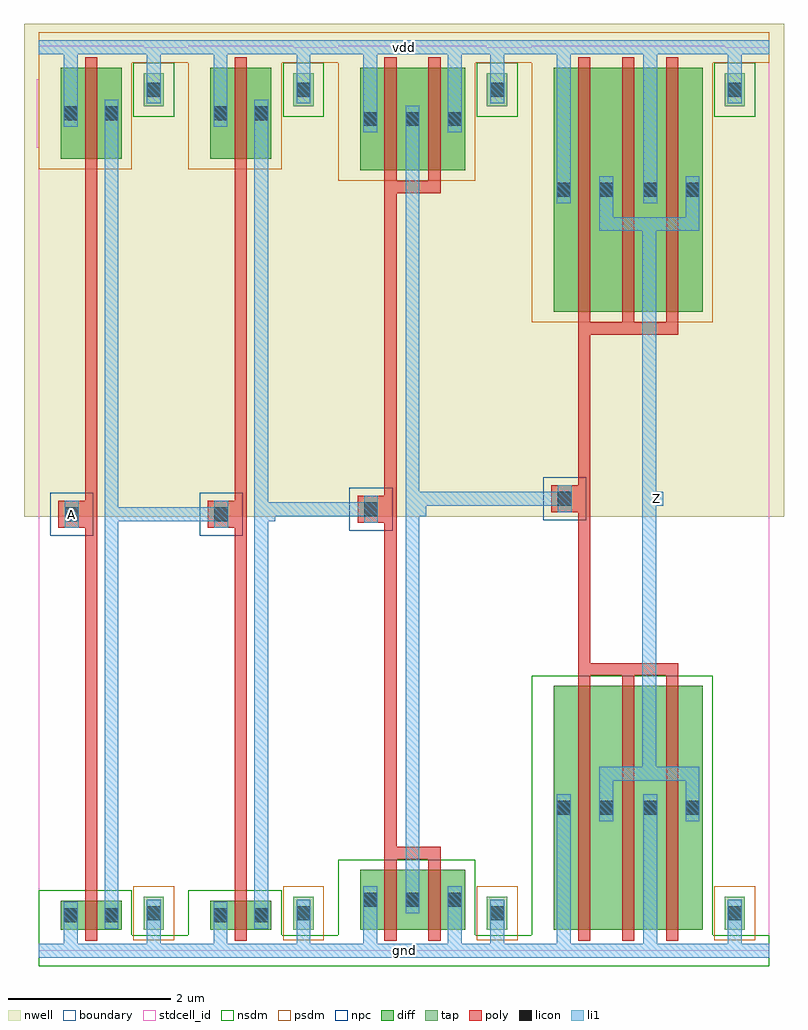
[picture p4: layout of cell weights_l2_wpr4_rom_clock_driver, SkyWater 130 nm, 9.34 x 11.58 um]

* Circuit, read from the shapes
.subckt weights_l2_wpr4_rom_clock_driver A Z gnd vdd
XM1 weights_l2_wpr4_pinv_1/A A gnd gnd sky130_fd_pr__nfet_01v8 w=0.36 l=0.15
XM2 weights_l2_wpr4_pinv_0_2/A weights_l2_wpr4_pinv_1/A gnd gnd sky130_fd_pr__nfet_01v8 w=0.36 l=0.15
XM3 weights_l2_wpr4_pinv_1_3/A weights_l2_wpr4_pinv_0_2/A gnd gnd sky130_fd_pr__nfet_01v8 w=0.74 l=0.15 m=2
XM4 Z weights_l2_wpr4_pinv_1_3/A gnd gnd sky130_fd_pr__nfet_01v8 w=3 l=0.15 m=3
XM5 weights_l2_wpr4_pinv_1/A A vdd vdd sky130_fd_pr__pfet_01v8 w=1.12 l=0.15
XM6 weights_l2_wpr4_pinv_0_2/A weights_l2_wpr4_pinv_1/A vdd vdd sky130_fd_pr__pfet_01v8 w=1.12 l=0.15
XM7 weights_l2_wpr4_pinv_1_3/A weights_l2_wpr4_pinv_0_2/A vdd vdd sky130_fd_pr__pfet_01v8 w=1.26 l=0.15 m=2
XM8 Z weights_l2_wpr4_pinv_1_3/A vdd vdd sky130_fd_pr__pfet_01v8 w=3 l=0.15 m=3
.ends

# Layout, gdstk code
import gdstk
lib = gdstk.Library(unit=1e-6, precision=1e-09)
def R(c, l, rs):  # rectangles x0, y0, x1, y1
    for r in rs: c.add(gdstk.rectangle(r[:2], r[2:], *l))
def A(c, l, x, y, w, h, nx, ny, dx, dy):  # array of equal rectangles
    R(c, l, [(x+i*dx, y+j*dy, x+i*dx+w, y+j*dy+h) for i in range(nx) for j in range(ny)])
nwell = (64, 20)
diff = (65, 20)
tap = (65, 44)
poly = (66, 20)
licon = (66, 44)
li1 = (67, 20)
stdcell_id = (81, 4)
nsdm = (93, 44)
psdm = (94, 20)
npc = (95, 20)
boundary = (235, 4)

weights_l2_wpr4_contact_ = lib.new_cell('weights_l2_wpr4_contact_10')
R(weights_l2_wpr4_contact_, nwell, [(-0.295,-0.255,0.545,0.585)])
R(weights_l2_wpr4_contact_, diff, [(0,0.02,0.25,0.31)])
R(weights_l2_wpr4_contact_, licon, [(0.04,0.08,0.21,0.25)])
R(weights_l2_wpr4_contact_, li1, [(0.04,0,0.21,0.33)])
R(weights_l2_wpr4_contact_, stdcell_id, [(-0.295,-0.255,0.545,0.585)])
R(weights_l2_wpr4_contact_, psdm, [(-0.125,-0.105,0.375,0.435)])
R(weights_l2_wpr4_contact_, boundary, [(-0.295,-0.255,0.545,0.585)])

weights_l2_wpr4_pmos_m1_ = lib.new_cell('weights_l2_wpr4_pmos_m1_w1_120_sli_dli_da_p')
R(weights_l2_wpr4_pmos_m1_, nwell, [(-0.27,-0.27,1.02,1.39)])
R(weights_l2_wpr4_pmos_m1_, diff, [(0,0,0.75,1.12)])
R(weights_l2_wpr4_pmos_m1_, poly, [(0.3,-0.13,0.45,1.25), (0.3,-0.13,0.45,1.25)])
R(weights_l2_wpr4_pmos_m1_, li1, [(0.04,0.395,0.21,0.725), (0.54,0.395,0.71,0.725)])
R(weights_l2_wpr4_pmos_m1_, stdcell_id, [(-0.27,-0.27,1.02,1.39)])
R(weights_l2_wpr4_pmos_m1_, psdm, [(-0.125,-0.125,0.875,1.245)])
R(weights_l2_wpr4_pmos_m1_, boundary, [(-0.27,-0.27,1.02,1.39)])
weights_l2_wpr4_pmos_m1_.add(gdstk.Reference(weights_l2_wpr4_contact_, (0,0.395)))
weights_l2_wpr4_pmos_m1_.add(gdstk.Reference(weights_l2_wpr4_contact_, (0.5,0.395)))
weights_l2_wpr4_pmos_m1_.add(gdstk.Label('G', (0.375,0.56), layer=66, texttype=5))
weights_l2_wpr4_pmos_m1_.add(gdstk.Label('S', (0.125,0.56), layer=67, texttype=5))
weights_l2_wpr4_pmos_m1_.add(gdstk.Label('D', (0.625,0.56), layer=67, texttype=5))

c_weights_l2_wpr4_contact_ = lib.new_cell('weights_l2_wpr4_contact_8')
R(c_weights_l2_wpr4_contact_, diff, [(0,0.02,0.25,0.31)])
R(c_weights_l2_wpr4_contact_, licon, [(0.04,0.08,0.21,0.25)])
R(c_weights_l2_wpr4_contact_, li1, [(0.04,0,0.21,0.33)])
R(c_weights_l2_wpr4_contact_, stdcell_id, [(-0.125,-0.105,0.375,0.435)])
R(c_weights_l2_wpr4_contact_, nsdm, [(-0.125,-0.105,0.375,0.435)])
R(c_weights_l2_wpr4_contact_, boundary, [(-0.125,-0.105,0.375,0.435)])

weights_l2_wpr4_nmos_m1_ = lib.new_cell('weights_l2_wpr4_nmos_m1_w0_360_sli_dli_da_p')
R(weights_l2_wpr4_nmos_m1_, diff, [(0,0,0.75,0.36)])
R(weights_l2_wpr4_nmos_m1_, poly, [(0.3,-0.13,0.45,0.49), (0.3,-0.13,0.45,0.49)])
R(weights_l2_wpr4_nmos_m1_, li1, [(0.04,0.015,0.21,0.345), (0.54,0.015,0.71,0.345)])
R(weights_l2_wpr4_nmos_m1_, stdcell_id, [(-0.125,-0.13,0.875,0.49)])
R(weights_l2_wpr4_nmos_m1_, nsdm, [(-0.125,-0.125,0.875,0.485)])
R(weights_l2_wpr4_nmos_m1_, boundary, [(-0.125,-0.13,0.875,0.49)])
weights_l2_wpr4_nmos_m1_.add(gdstk.Reference(c_weights_l2_wpr4_contact_, (0,0.015)))
weights_l2_wpr4_nmos_m1_.add(gdstk.Reference(c_weights_l2_wpr4_contact_, (0.5,0.015)))
weights_l2_wpr4_nmos_m1_.add(gdstk.Label('G', (0.375,0.18), layer=66, texttype=5))
weights_l2_wpr4_nmos_m1_.add(gdstk.Label('S', (0.125,0.18), layer=67, texttype=5))
weights_l2_wpr4_nmos_m1_.add(gdstk.Label('D', (0.625,0.18), layer=67, texttype=5))

c_weights_l2_wpr4_contact__ = lib.new_cell('weights_l2_wpr4_contact_26')
R(c_weights_l2_wpr4_contact__, nwell, [(-0.295,-0.215,0.545,0.625)])
R(c_weights_l2_wpr4_contact__, tap, [(0,0,0.25,0.41)])
R(c_weights_l2_wpr4_contact__, licon, [(0.04,0.12,0.21,0.29)])
R(c_weights_l2_wpr4_contact__, li1, [(0.04,0.04,0.21,0.37)])
R(c_weights_l2_wpr4_contact__, stdcell_id, [(-0.295,-0.215,0.545,0.625)])
R(c_weights_l2_wpr4_contact__, nsdm, [(-0.125,-0.125,0.375,0.535)])
R(c_weights_l2_wpr4_contact__, boundary, [(-0.295,-0.215,0.545,0.625)])

c_weights_l2_wpr4_contact___ = lib.new_cell('weights_l2_wpr4_contact_27')
R(c_weights_l2_wpr4_contact___, tap, [(0,0,0.25,0.41)])
R(c_weights_l2_wpr4_contact___, licon, [(0.04,0.12,0.21,0.29)])
R(c_weights_l2_wpr4_contact___, li1, [(0.04,0.04,0.21,0.37)])
R(c_weights_l2_wpr4_contact___, stdcell_id, [(-0.125,-0.125,0.375,0.535)])
R(c_weights_l2_wpr4_contact___, psdm, [(-0.125,-0.125,0.375,0.535)])
R(c_weights_l2_wpr4_contact___, boundary, [(-0.125,-0.125,0.375,0.535)])

c_weights_l2_wpr4_contact____ = lib.new_cell('weights_l2_wpr4_contact_11')
R(c_weights_l2_wpr4_contact____, poly, [(0,0,0.33,0.33)])
R(c_weights_l2_wpr4_contact____, licon, [(0.08,0.08,0.25,0.25)])
R(c_weights_l2_wpr4_contact____, li1, [(0.08,0,0.25,0.33)])
R(c_weights_l2_wpr4_contact____, stdcell_id, [(-0.1,-0.1,0.43,0.43)])
R(c_weights_l2_wpr4_contact____, npc, [(-0.1,-0.1,0.43,0.43)])
R(c_weights_l2_wpr4_contact____, boundary, [(-0.1,-0.1,0.43,0.43)])

weights_l2_wpr4_pinv = lib.new_cell('weights_l2_wpr4_pinv')
R(weights_l2_wpr4_pinv, nwell, [(-0.18,5.33,2.02,11.39)])
R(weights_l2_wpr4_pinv, poly, [(0.57,0.745,0.72,9.6), (0.405,5.2,0.57,5.53)])
R(weights_l2_wpr4_pinv, li1, [(0,-0.085,1.84,0.085), (0.31,-0.085,0.48,0.27), (1.33,0,1.5,0.46), (0.81,0.27,0.98,10.455), (0.32,5.2,0.49,5.53), (0.895,5.28,1.065,5.45), (0.31,10.125,0.48,11.19), (1.33,10.58,1.5,11.1), (0,11.02,1.84,11.19)])
R(weights_l2_wpr4_pinv, stdcell_id, [(0,0,1.84,11.1), (0,0,1.84,11.1)])
R(weights_l2_wpr4_pinv, nsdm, [(0,-0.19,1.84,0.19), (0,0,1.145,0.74)])
R(weights_l2_wpr4_pinv, psdm, [(0,9.605,1.145,11.105), (0,10.91,1.84,11.29)])
R(weights_l2_wpr4_pinv, boundary, [(0,0,1.84,11.1), (0,0,1.84,11.1)])
weights_l2_wpr4_pinv.add(gdstk.Reference(weights_l2_wpr4_pmos_m1_, (0.27,9.73)))
weights_l2_wpr4_pinv.add(gdstk.Reference(weights_l2_wpr4_nmos_m1_, (0.27,0.255)))
weights_l2_wpr4_pinv.add(gdstk.Reference(c_weights_l2_wpr4_contact__, (1.29,10.375)))
weights_l2_wpr4_pinv.add(gdstk.Reference(c_weights_l2_wpr4_contact___, (1.29,0.255)))
weights_l2_wpr4_pinv.add(gdstk.Reference(c_weights_l2_wpr4_contact____, (0.24,5.2)))
weights_l2_wpr4_pinv.add(gdstk.Label('A', (0.405,5.365), layer=67, texttype=5))
weights_l2_wpr4_pinv.add(gdstk.Label('Z', (0.98,5.365), layer=67, texttype=5))
weights_l2_wpr4_pinv.add(gdstk.Label('gnd', (0.92,0), layer=67, texttype=5))
weights_l2_wpr4_pinv.add(gdstk.Label('vdd', (0.92,11.105), layer=67, texttype=5))

weights_l2_wpr4_pmos_m2_ = lib.new_cell('weights_l2_wpr4_pmos_m2_w1_260_sli_dli_da_p')
R(weights_l2_wpr4_pmos_m2_, nwell, [(-0.27,-0.27,1.56,1.53)])
R(weights_l2_wpr4_pmos_m2_, diff, [(0,0,1.29,1.26)])
R(weights_l2_wpr4_pmos_m2_, poly, [(0.3,-0.28,0.99,-0.13), (0.3,-0.13,0.45,1.39), (0.84,-0.13,0.99,1.39)])
A(weights_l2_wpr4_pmos_m2_, li1, 0.04, 0.465, 0.17, 0.33, 3, 1, 0.52, 0)
R(weights_l2_wpr4_pmos_m2_, stdcell_id, [(-0.27,-0.28,1.56,1.53)])
R(weights_l2_wpr4_pmos_m2_, psdm, [(-0.125,-0.125,1.415,1.385)])
R(weights_l2_wpr4_pmos_m2_, boundary, [(-0.27,-0.28,1.56,1.53)])
weights_l2_wpr4_pmos_m2_.add(gdstk.Reference(weights_l2_wpr4_contact_, (0,0.465)))
weights_l2_wpr4_pmos_m2_.add(gdstk.Reference(weights_l2_wpr4_contact_, (0.52,0.465)))
weights_l2_wpr4_pmos_m2_.add(gdstk.Reference(weights_l2_wpr4_contact_, (1.04,0.465)))
weights_l2_wpr4_pmos_m2_.add(gdstk.Label('G', (0.645,-0.205), layer=66, texttype=5))
weights_l2_wpr4_pmos_m2_.add(gdstk.Label('S', (0.125,0.63), layer=67, texttype=5))
weights_l2_wpr4_pmos_m2_.add(gdstk.Label('S', (1.165,0.63), layer=67, texttype=5))
weights_l2_wpr4_pmos_m2_.add(gdstk.Label('D', (0.645,0.63), layer=67, texttype=5))

weights_l2_wpr4_nmos_m2_ = lib.new_cell('weights_l2_wpr4_nmos_m2_w0_740_sli_dli_da_p')
R(weights_l2_wpr4_nmos_m2_, diff, [(0,0,1.29,0.74)])
R(weights_l2_wpr4_nmos_m2_, poly, [(0.3,-0.13,0.45,0.87), (0.84,-0.13,0.99,0.87), (0.3,0.87,0.99,1.02)])
A(weights_l2_wpr4_nmos_m2_, li1, 0.04, 0.205, 0.17, 0.33, 3, 1, 0.52, 0)
R(weights_l2_wpr4_nmos_m2_, stdcell_id, [(-0.125,-0.13,1.415,1.02)])
R(weights_l2_wpr4_nmos_m2_, nsdm, [(-0.125,-0.125,1.415,0.865)])
R(weights_l2_wpr4_nmos_m2_, boundary, [(-0.125,-0.13,1.415,1.02)])
weights_l2_wpr4_nmos_m2_.add(gdstk.Reference(c_weights_l2_wpr4_contact_, (0,0.205)))
weights_l2_wpr4_nmos_m2_.add(gdstk.Reference(c_weights_l2_wpr4_contact_, (0.52,0.205)))
weights_l2_wpr4_nmos_m2_.add(gdstk.Reference(c_weights_l2_wpr4_contact_, (1.04,0.205)))
weights_l2_wpr4_nmos_m2_.add(gdstk.Label('G', (0.645,0.945), layer=66, texttype=5))
weights_l2_wpr4_nmos_m2_.add(gdstk.Label('S', (0.125,0.37), layer=67, texttype=5))
weights_l2_wpr4_nmos_m2_.add(gdstk.Label('S', (1.165,0.37), layer=67, texttype=5))
weights_l2_wpr4_nmos_m2_.add(gdstk.Label('D', (0.645,0.37), layer=67, texttype=5))

weights_l2_wpr4_pinv_0 = lib.new_cell('weights_l2_wpr4_pinv_0')
R(weights_l2_wpr4_pinv_0, nwell, [(-0.18,5.33,2.56,11.39)])
R(weights_l2_wpr4_pinv_0, poly, [(0.57,1.275,0.72,9.31), (0.405,5.26,0.57,5.59)])
R(weights_l2_wpr4_pinv_0, li1, [(0,-0.085,2.38,0.085), (0.31,-0.085,0.48,0.46), (1.35,-0.085,1.52,0.46), (1.87,0,2.04,0.46), (0.83,0.46,1,10.385), (0.32,5.26,0.49,5.59), (0.915,5.34,1.085,5.51), (0.31,10.055,0.48,11.19), (1.35,10.055,1.52,11.19), (1.87,10.58,2.04,11.1), (0,11.02,2.38,11.19)])
R(weights_l2_wpr4_pinv_0, stdcell_id, [(0,0,2.38,11.1), (0,0,2.38,11.1)])
R(weights_l2_wpr4_pinv_0, nsdm, [(0,-0.19,2.38,0.19), (0,0,1.685,1.12)])
R(weights_l2_wpr4_pinv_0, psdm, [(0,9.465,1.685,11.105), (0,10.91,2.38,11.29)])
R(weights_l2_wpr4_pinv_0, boundary, [(0,0,2.38,11.1), (0,0,2.38,11.1)])
weights_l2_wpr4_pinv_0.add(gdstk.Reference(weights_l2_wpr4_pmos_m2_, (0.27,9.59)))
weights_l2_wpr4_pinv_0.add(gdstk.Reference(weights_l2_wpr4_nmos_m2_, (0.27,0.255)))
weights_l2_wpr4_pinv_0.add(gdstk.Reference(c_weights_l2_wpr4_contact__, (1.83,10.375)))
weights_l2_wpr4_pinv_0.add(gdstk.Reference(c_weights_l2_wpr4_contact___, (1.83,0.255)))
weights_l2_wpr4_pinv_0.add(gdstk.Reference(c_weights_l2_wpr4_contact____, (0.24,5.26)))
weights_l2_wpr4_pinv_0.add(gdstk.Label('A', (0.405,5.425), layer=67, texttype=5))
weights_l2_wpr4_pinv_0.add(gdstk.Label('Z', (1,5.425), layer=67, texttype=5))
weights_l2_wpr4_pinv_0.add(gdstk.Label('gnd', (1.19,0), layer=67, texttype=5))
weights_l2_wpr4_pinv_0.add(gdstk.Label('vdd', (1.19,11.105), layer=67, texttype=5))

weights_l2_wpr4_pmos_m3_ = lib.new_cell('weights_l2_wpr4_pmos_m3_w3_000_sli_dli_da_p')
R(weights_l2_wpr4_pmos_m3_, nwell, [(-0.27,-0.27,2.1,3.27)])
R(weights_l2_wpr4_pmos_m3_, diff, [(0,0,1.83,3)])
A(weights_l2_wpr4_pmos_m3_, poly, 0.3, -0.13, 0.15, 3.26, 3, 1, 0.54, 0)
R(weights_l2_wpr4_pmos_m3_, poly, [(0.3,-0.28,1.53,-0.13)])
R(weights_l2_wpr4_pmos_m3_, li1, [(0.56,0.995,1.79,1.165), (0.56,1.08,0.73,1.5), (1.62,1.08,1.79,1.5), (0.04,1.335,0.21,1.665), (1.1,1.335,1.27,1.665)])
R(weights_l2_wpr4_pmos_m3_, stdcell_id, [(-0.27,-0.28,2.1,3.27)])
R(weights_l2_wpr4_pmos_m3_, psdm, [(-0.125,-0.125,1.955,3.125)])
R(weights_l2_wpr4_pmos_m3_, boundary, [(-0.27,-0.28,2.1,3.27)])
weights_l2_wpr4_pmos_m3_.add(gdstk.Reference(weights_l2_wpr4_contact_, (0,1.335)))
weights_l2_wpr4_pmos_m3_.add(gdstk.Reference(weights_l2_wpr4_contact_, (0.52,1.335)))
weights_l2_wpr4_pmos_m3_.add(gdstk.Reference(weights_l2_wpr4_contact_, (1.06,1.335)))
weights_l2_wpr4_pmos_m3_.add(gdstk.Reference(weights_l2_wpr4_contact_, (1.58,1.335)))
weights_l2_wpr4_pmos_m3_.add(gdstk.Label('G', (0.915,-0.205), layer=66, texttype=5))
weights_l2_wpr4_pmos_m3_.add(gdstk.Label('S', (0.125,1.5), layer=67, texttype=5))
weights_l2_wpr4_pmos_m3_.add(gdstk.Label('S', (1.185,1.5), layer=67, texttype=5))
weights_l2_wpr4_pmos_m3_.add(gdstk.Label('D', (1.175,1.08), layer=67, texttype=5))

weights_l2_wpr4_nmos_m3_ = lib.new_cell('weights_l2_wpr4_nmos_m3_w3_000_sli_dli_da_p')
R(weights_l2_wpr4_nmos_m3_, diff, [(0,0,1.83,3)])
A(weights_l2_wpr4_nmos_m3_, poly, 0.3, -0.13, 0.15, 3.26, 3, 1, 0.54, 0)
R(weights_l2_wpr4_nmos_m3_, poly, [(0.3,3.13,1.53,3.28)])
R(weights_l2_wpr4_nmos_m3_, li1, [(0.04,1.335,0.21,1.665), (1.1,1.335,1.27,1.665), (0.56,1.5,0.73,1.92), (1.62,1.5,1.79,1.92), (0.56,1.835,1.79,2.005)])
R(weights_l2_wpr4_nmos_m3_, stdcell_id, [(-0.125,-0.13,1.955,3.28)])
R(weights_l2_wpr4_nmos_m3_, nsdm, [(-0.125,-0.125,1.955,3.125)])
R(weights_l2_wpr4_nmos_m3_, boundary, [(-0.125,-0.13,1.955,3.28)])
weights_l2_wpr4_nmos_m3_.add(gdstk.Reference(c_weights_l2_wpr4_contact_, (0,1.335)))
weights_l2_wpr4_nmos_m3_.add(gdstk.Reference(c_weights_l2_wpr4_contact_, (0.52,1.335)))
weights_l2_wpr4_nmos_m3_.add(gdstk.Reference(c_weights_l2_wpr4_contact_, (1.06,1.335)))
weights_l2_wpr4_nmos_m3_.add(gdstk.Reference(c_weights_l2_wpr4_contact_, (1.58,1.335)))
weights_l2_wpr4_nmos_m3_.add(gdstk.Label('G', (0.915,3.205), layer=66, texttype=5))
weights_l2_wpr4_nmos_m3_.add(gdstk.Label('S', (0.125,1.5), layer=67, texttype=5))
weights_l2_wpr4_nmos_m3_.add(gdstk.Label('S', (1.185,1.5), layer=67, texttype=5))
weights_l2_wpr4_nmos_m3_.add(gdstk.Label('D', (1.175,1.92), layer=67, texttype=5))

weights_l2_wpr4_pinv_1 = lib.new_cell('weights_l2_wpr4_pinv_1')
R(weights_l2_wpr4_pinv_1, nwell, [(-0.18,5.33,3.1,11.39)])
R(weights_l2_wpr4_pinv_1, poly, [(0.57,3.535,0.72,7.57), (0.405,5.39,0.57,5.72)])
R(weights_l2_wpr4_pinv_1, li1, [(0,-0.085,2.92,0.085), (0.31,-0.085,0.48,1.59), (1.37,-0.085,1.54,1.59), (2.41,0,2.58,0.46), (1.36,2.09,1.53,9.015), (0.32,5.39,0.49,5.72), (1.445,5.47,1.615,5.64), (0.31,9.185,0.48,11.19), (1.37,9.185,1.54,11.19), (2.41,10.58,2.58,11.1), (0,11.02,2.92,11.19)])
R(weights_l2_wpr4_pinv_1, stdcell_id, [(0,0,2.92,11.1), (0,0,2.92,11.1)])
R(weights_l2_wpr4_pinv_1, nsdm, [(0,-0.19,2.92,0.19), (0,0,2.225,3.38)])
R(weights_l2_wpr4_pinv_1, psdm, [(0,7.725,2.225,11.105), (0,10.91,2.92,11.29)])
R(weights_l2_wpr4_pinv_1, boundary, [(0,0,2.92,11.1), (0,0,2.92,11.1)])
weights_l2_wpr4_pinv_1.add(gdstk.Reference(weights_l2_wpr4_pmos_m3_, (0.27,7.85)))
weights_l2_wpr4_pinv_1.add(gdstk.Reference(weights_l2_wpr4_nmos_m3_, (0.27,0.255)))
weights_l2_wpr4_pinv_1.add(gdstk.Reference(c_weights_l2_wpr4_contact__, (2.37,10.375)))
weights_l2_wpr4_pinv_1.add(gdstk.Reference(c_weights_l2_wpr4_contact___, (2.37,0.255)))
weights_l2_wpr4_pinv_1.add(gdstk.Reference(c_weights_l2_wpr4_contact____, (0.24,5.39)))
weights_l2_wpr4_pinv_1.add(gdstk.Label('A', (0.405,5.555), layer=67, texttype=5))
weights_l2_wpr4_pinv_1.add(gdstk.Label('Z', (1.53,5.555), layer=67, texttype=5))
weights_l2_wpr4_pinv_1.add(gdstk.Label('gnd', (1.46,0), layer=67, texttype=5))
weights_l2_wpr4_pinv_1.add(gdstk.Label('vdd', (1.46,11.105), layer=67, texttype=5))

weights_l2_wpr4_rom_cloc = lib.new_cell('weights_l2_wpr4_rom_clock_driver')
R(weights_l2_wpr4_rom_cloc, nwell, [(-0.18,5.33,9.16,11.39)])
R(weights_l2_wpr4_rom_cloc, li1, [(0,-0.085,8.98,0.085), (0.32,5.2,0.49,5.53), (0.98,5.28,2.245,5.45), (2.735,5.34,2.905,5.51), (2.82,5.34,4.085,5.51), (2.735,5.365,2.905,5.425), (4.595,5.425,4.765,5.555), (4.595,5.47,4.765,5.64), (4.68,5.47,6.465,5.64), (7.505,5.47,7.675,5.64), (0,11.015,8.98,11.185)])
R(weights_l2_wpr4_rom_cloc, stdcell_id, [(0,0,8.98,11.1), (0,0,8.98,11.1)])
R(weights_l2_wpr4_rom_cloc, nsdm, [(0,-0.19,8.98,0.19)])
R(weights_l2_wpr4_rom_cloc, psdm, [(0,10.91,8.98,11.29)])
R(weights_l2_wpr4_rom_cloc, boundary, [(0,0,8.98,11.1), (0,0,8.98,11.1)])
weights_l2_wpr4_rom_cloc.add(gdstk.Reference(weights_l2_wpr4_pinv, (0,0)))
weights_l2_wpr4_rom_cloc.add(gdstk.Reference(weights_l2_wpr4_pinv, (1.84,0)))
weights_l2_wpr4_rom_cloc.add(gdstk.Reference(weights_l2_wpr4_pinv_0, (3.68,0)))
weights_l2_wpr4_rom_cloc.add(gdstk.Reference(weights_l2_wpr4_pinv_1, (6.06,0)))
weights_l2_wpr4_rom_cloc.add(gdstk.Label('Z', (7.59,5.555), layer=67, texttype=5))
weights_l2_wpr4_rom_cloc.add(gdstk.Label('A', (0.405,5.365), layer=67, texttype=5))
weights_l2_wpr4_rom_cloc.add(gdstk.Label('gnd', (4.49,0), layer=67, texttype=5))
weights_l2_wpr4_rom_cloc.add(gdstk.Label('vdd', (4.49,11.1), layer=67, texttype=5))

lib.write_gds('weights_l2_wpr4_rom_clock_driver.gds')
